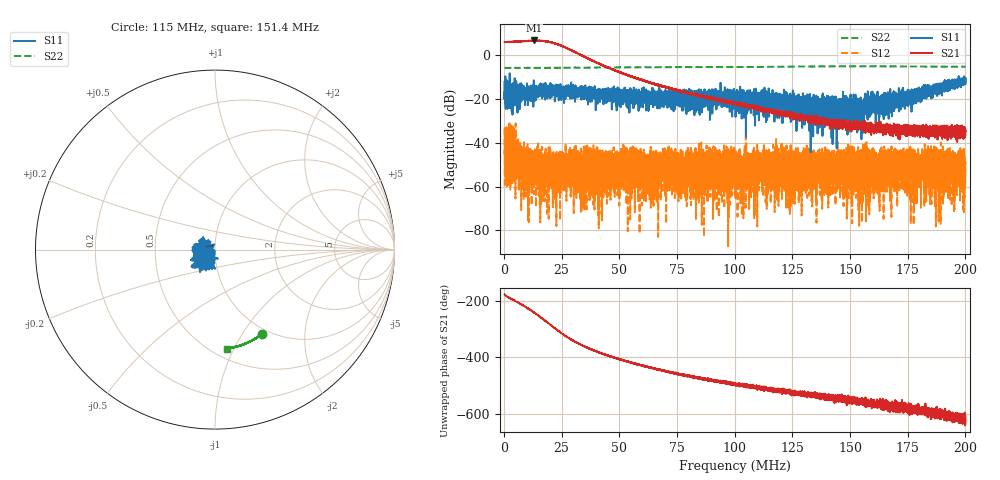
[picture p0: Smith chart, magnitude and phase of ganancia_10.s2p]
# Hz S DB R 50
! CMT, M5065, 19127446, 24.2.4/2
! Date: 11/8/2024 3:50:44 PM
! Data: Format (Calibration Info)
! Freq	S11:dB/Ang(F2)	S21:dB/Ang(F2)	S12:dB/Ang(F2)	S22:dB/Ang(F2)
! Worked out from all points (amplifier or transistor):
!   9000 points, 300 kHz to 200 MHz, reference 50 ohm
!   highest |S21| = 6.7 dB at 13.08 MHz (marker M1)
!   |S21| within 3 dB of that: start of sweep to 26.07 MHz (the widest 1 of 4)
!   unconditionally stable (mu >= 1): start of sweep to end of sweep
!   at 33.59 MHz: K = 194.79, MAG = 1.3 dB, |S12| = -54.6 dB
!   at 100.2 MHz: K = 778.59, MAG = -20.6 dB, |S12| = -44.8 dB
!   at 200 MHz: K = 7252.91, MAG = -32.5 dB, |S12| = -52.7 dB
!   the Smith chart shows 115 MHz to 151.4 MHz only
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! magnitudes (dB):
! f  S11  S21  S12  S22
! 300 kHz  -12.3  5.9  -59.8  -5.8
! 1.387 MHz  -13.5  5.9  -46.8  -5.9
! 13.08 MHz  -15.7  6.7  -46.3  -5.8
! 21.89 MHz  -18.1  5.4  -49.7  -5.8
! 33.59 MHz  -17.1  -0.1  -54.6  -5.7
! 39.78 MHz  -20.4  -3.3  -44.4  -5.7
! 66.87 MHz  -22.9  -13.8  -52.2  -5.5
! 100.2 MHz  -17.3  -22.2  -44.8  -5.4
! 103.5 MHz  -18.4  -23.0  -51.0  -5.4
! 105.1 MHz  -26.7  -23.2  -56.5  -5.4
! 109.4 MHz  -25.4  -24.5  -50.9  -5.4
! 116.1 MHz  -18.5  -25.7  -48.9  -5.3
! 133.4 MHz  -22.6  -30.1  -55.6  -5.2
! 154.7 MHz  -19.8  -32.1  -44.7  -5.1
! 157 MHz  -23.6  -32.3  -47.5  -5.1
! 166.7 MHz  -23.8  -31.6  -44.3  -5.1
! 187.4 MHz  -13.8  -34.6  -47.8  -5.3
! 189.9 MHz  -15.9  -35.5  -45.8  -5.3
! 191.5 MHz  -14.7  -32.6  -50.3  -5.3
! 194.3 MHz  -14.6  -35.0  -51.6  -5.3
! 196.3 MHz  -13.6  -33.8  -46.9  -5.3
! 200 MHz  -10.4  -34.4  -52.7  -5.3
